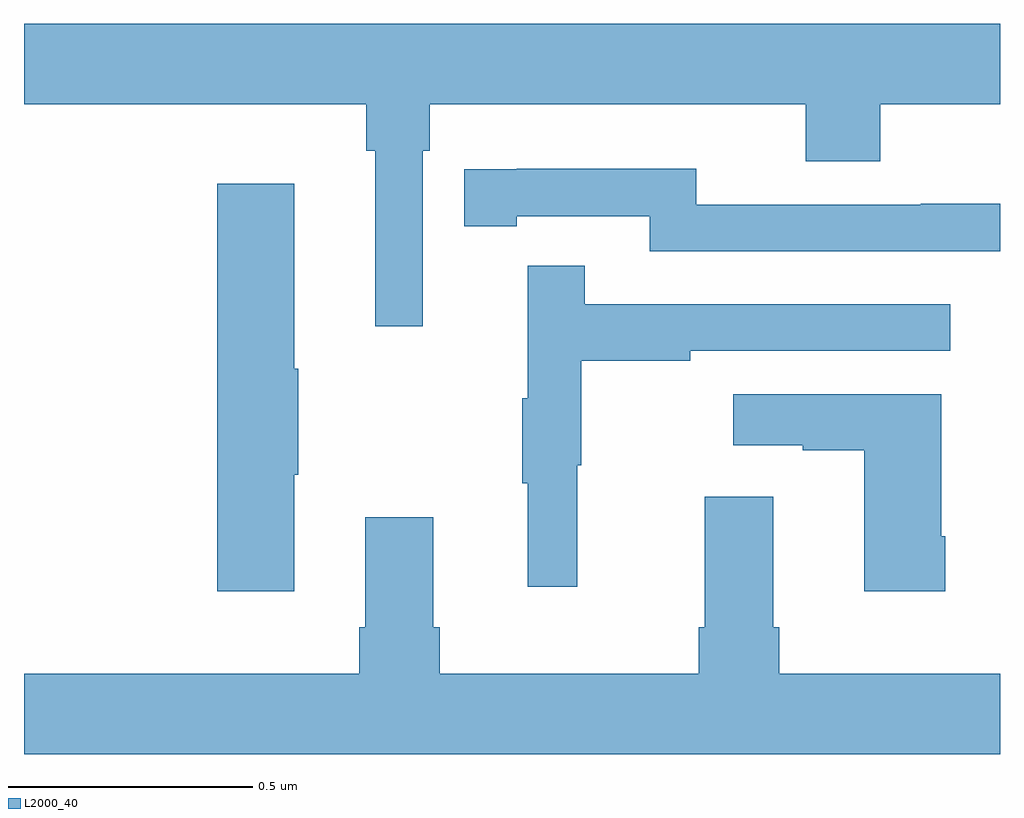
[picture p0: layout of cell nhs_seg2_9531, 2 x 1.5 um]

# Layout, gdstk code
import gdstk
lib = gdstk.Library(unit=1e-6, precision=1e-09)
def P(c, l, *ps):  # polygons
    for p in ps: c.add(gdstk.Polygon(p, *l))
L2000_40 = (2000, 40)

nhs_seg2_9531 = lib.new_cell('nhs_seg2_9531')
P(nhs_seg2_9531, L2000_40, [(230.817,618.236),(230.831,618.236),(230.831,618.332),(231.602,618.332),(231.602,618.215),(231.755,618.215),(231.755,618.332),(232,618.332),(232,618.496),(230,618.496),(230,618.332),(230.701,618.332),(230.701,618.236),(230.72,618.236),(230.72,617.877),(230.817,617.877)],
  [(232,618.128),(231.838,618.128),(231.838,618.126),(231.378,618.126),(231.378,618.199),(231.01,618.199),(231.01,618.198),(230.902,618.198),(230.902,618.082),(231.01,618.082),(231.01,618.102),(231.282,618.102),(231.282,618.03),(232,618.03)],
  [(230.554,617.572),(230.562,617.572),(230.562,617.789),(230.554,617.789),(230.554,618.169),(230.396,618.169),(230.396,617.334),(230.554,617.334)],
  [(231.134,617.592),(231.142,617.592),(231.142,617.806),(231.365,617.806),(231.365,617.826),(231.898,617.826),(231.898,617.922),(231.149,617.922),(231.149,618.001),(231.032,618.001),(231.032,617.729),(231.021,617.729),(231.021,617.555),(231.032,617.555),(231.032,617.343),(231.134,617.343)],
  [(231.888,617.446),(231.88,617.446),(231.88,617.737),(231.453,617.737),(231.453,617.633),(231.596,617.633),(231.596,617.623),(231.722,617.623),(231.722,617.334),(231.888,617.334)],
  [(232,617.164),(231.548,617.164),(231.548,617.26),(231.535,617.26),(231.535,617.527),(231.395,617.527),(231.395,617.26),(231.383,617.26),(231.383,617.164),(230.852,617.164),(230.852,617.26),(230.839,617.26),(230.839,617.485),(230.699,617.485),(230.699,617.26),(230.687,617.26),(230.687,617.164),(230,617.164),(230,617),(232,617)])

lib.write_gds('nhs_seg2_9531.gds')
